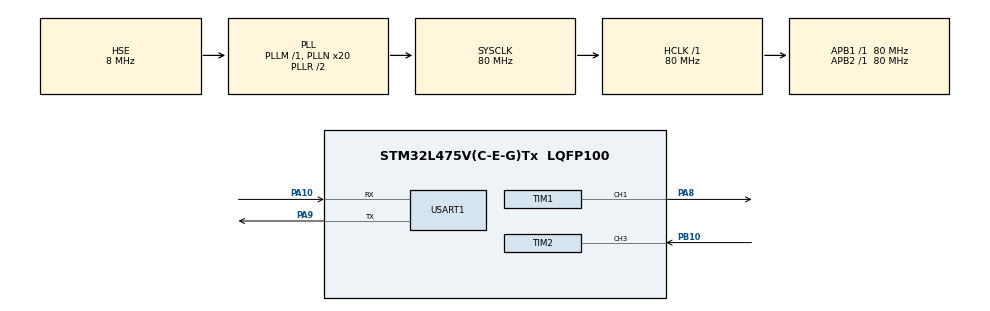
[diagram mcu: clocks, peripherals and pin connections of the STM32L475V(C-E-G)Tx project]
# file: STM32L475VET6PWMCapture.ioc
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Mcu.Family=STM32L4
Mcu.Name=STM32L475V(C-E-G)Tx
Mcu.Package=LQFP100
NVIC.PriorityGroup=NVIC_PRIORITYGROUP_2
NVIC.TIM2_IRQn=true\:0\:0\:false\:false\:true\:true\:true\:true
PA10.Mode=Asynchronous
PA10.Signal=USART1_RX
PA13\ (JTMS-SWDIO).Mode=Serial_Wire
PA13\ (JTMS-SWDIO).Signal=SYS_JTMS-SWDIO
PA14\ (JTCK-SWCLK).Mode=Serial_Wire
PA14\ (JTCK-SWCLK).Signal=SYS_JTCK-SWCLK
PA8.GPIO_PuPd=GPIO_PULLDOWN
PA8.GPIO_Speed=GPIO_SPEED_FREQ_VERY_HIGH
PA8.Signal=S_TIM1_CH1
PA9.Mode=Asynchronous
PA9.Signal=USART1_TX
PB10.GPIO_ModeDefaultPP=GPIO_MODE_AF_PP
PB10.GPIO_PuPd=GPIO_PULLDOWN
PB10.GPIO_Speed=GPIO_SPEED_FREQ_LOW
PB10.Signal=S_TIM2_CH3
PC14-OSC32_IN\ (PC14).Mode=LSE-External-Oscillator
PC14-OSC32_IN\ (PC14).Signal=RCC_OSC32_IN
PC15-OSC32_OUT\ (PC15).Mode=LSE-External-Oscillator
PC15-OSC32_OUT\ (PC15).Signal=RCC_OSC32_OUT
PH0-OSC_IN\ (PH0).Mode=HSE-External-Oscillator
PH0-OSC_IN\ (PH0).Signal=RCC_OSC_IN
PH1-OSC_OUT\ (PH1).Mode=HSE-External-Oscillator
PH1-OSC_OUT\ (PH1).Signal=RCC_OSC_OUT
ProjectManager.HeapSize=0x200
ProjectManager.StackSize=0x400
ProjectManager.TargetToolchain=MDK-ARM V5.32
RCC.ADCFreq_Value=32000000
RCC.AHBFreq_Value=80000000
RCC.APB1Freq_Value=80000000
RCC.APB1TimFreq_Value=80000000
RCC.APB2Freq_Value=80000000
RCC.APB2TimFreq_Value=80000000
RCC.CortexFreq_Value=80000000
RCC.HCLKFreq_Value=80000000
RCC.HSE_VALUE=8000000
RCC.HSI_VALUE=16000000
RCC.MSI_VALUE=4000000
RCC.PLLN=20
RCC.PLLSourceVirtual=RCC_PLLSOURCE_HSE
RCC.SYSCLKFreq_VALUE=80000000
RCC.SYSCLKSource=RCC_SYSCLKSOURCE_PLLCLK
RCC.USBFreq_Value=32000000
RCC.VCOOutputFreq_Value=160000000
SH.S_TIM1_CH1.0=TIM1_CH1,PWM Generation1 CH1
SH.S_TIM2_CH3.0=TIM2_CH3,Input_Capture3_from_TI3
TIM1.Channel-PWM\ Generation1\ CH1=TIM_CHANNEL_1
TIM1.Period=100-1
TIM1.Prescaler=80-1
TIM2.Channel-Input_Capture3_from_TI3=TIM_CHANNEL_3
TIM2.ICFilter_CH3=8
TIM2.ICPolarity_CH3=TIM_INPUTCHANNELPOLARITY_BOTHEDGE
TIM2.Prescaler=80-1
USART1.VirtualMode-Asynchronous=VM_ASYNC
VP_TIM1_VS_ClockSourceINT.Mode=Internal
VP_TIM2_VS_ClockSourceINT.Mode=Internal
board=custom

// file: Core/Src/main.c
/* USER CODE BEGIN Header */
/**
  ******************************************************************************
  * @file           : main.c
  * @brief          : Main program body
  ******************************************************************************
  * @attention
  *
  * Copyright (c) 2023 STMicroelectronics.
  * All rights reserved.
  *
  * This software is licensed under terms that can be found in the LICENSE file
  * in the root directory of this software component.
  * If no LICENSE file comes with this software, it is provided AS-IS.
  *
  ******************************************************************************
  */
/* USER CODE END Header */
#include "main.h"
#include "tim.h"
#include "usart.h"
#include "gpio.h"

/* USER CODE BEGIN Includes */
#include <stdio.h>
#include "delay.h"

/* USER CODE END Includes */

void SystemClock_Config(void);

/* USER CODE BEGIN 0 */

uint32_t IC_Val1 = 0;
uint32_t IC_Val2 = 0;
uint32_t Dif = 0;
uint32_t Width = 0;

uint16_t count = 20;

int IsFirstCap = 0;

int fputc(int ch, FILE *f)
{
	uint8_t temp[1] = {ch};
	HAL_UART_Transmit(&huart1, temp, 1, 1);

}

/* USER CODE END 0 */

int main(void)
{

  /* MCU Configuration--------------------------------------------------------*/

  /* Reset of all peripherals, Initializes the Flash interface and the Systick. */
  HAL_Init();

  /* Configure the system clock */
  SystemClock_Config();

  /* Initialize all configured peripherals */
  MX_GPIO_Init();
  MX_USART1_UART_Init();
  MX_TIM1_Init();
  MX_TIM2_Init();
  /* USER CODE BEGIN 2 */
  delay_init(80);

  TIM1 -> CCR1 = 80;//寄存器
//  __HAL_TIM_SetCompare(&htim1,TIM_CHANNEL_1,50);//宏定义

  HAL_UART_Transmit(&huart1,"system working !!!\r\n", sizeof("system working !!!\r\n"), 10);

  HAL_TIM_PWM_Start(&htim1, TIM_CHANNEL_1);

//  HAL_TIM_IC_Start_IT(&htim2, TIM_CHANNEL_3);

  /* USER CODE END 2 */

  /* Infinite loop */
  /* USER CODE BEGIN WHILE */
  while (1)
  {

	  if(count == 100) count = 20;
	  TIM1->CCR1 = count;
	  count += 20;
	  delay_ms(100);
	  printf("start it\r\n");
	  __HAL_TIM_SET_CAPTUREPOLARITY(&htim2, TIM_CHANNEL_3, TIM_ICPOLARITY_RISING);
	  HAL_TIM_IC_Start_IT(&htim2, TIM_CHANNEL_3);
	  delay_ms(1);//串口阻塞收发，必须加上这个，否则无法工作
	  printf("\r\n");
	  delay_ms(2000);

//	  HAL_TIM_IC_Stop_IT(&htim2, TIM_CHANNEL_3);
	  delay_ms(10);

//	  HAL_TIM_IC_Start_IT(&htim2, TIM_CHANNEL_3);

//	  printf("testing\r\n");
//	  for(count = 20; count <= 100; count += 20)
//	  {
//		__HAL_TIM_SetCounter(&htim1, 0);
//		TIM1->CCR1 = count;
//
//
//
//		  printf("%d \r\n",count);
//
//		  HAL_TIM_IC_Start_IT(&htim2, TIM_CHANNEL_3);
//
//		  HAL_TIM_PWM_Start(&htim1, TIM_CHANNEL_1);
//		  delay_ms(200);
//
//	  }
//
//	  if(count == 100) count = 20;

    /* USER CODE END WHILE */

  }
}

void SystemClock_Config(void)
{
  RCC_OscInitTypeDef RCC_OscInitStruct = {0};
  RCC_ClkInitTypeDef RCC_ClkInitStruct = {0};

  /** Configure the main internal regulator output voltage
  */
  if (HAL_PWREx_ControlVoltageScaling(PWR_REGULATOR_VOLTAGE_SCALE1) != HAL_OK)
  {
    Error_Handler();
  }

  /** Initializes the RCC Oscillators according to the specified parameters
  * in the RCC_OscInitTypeDef structure.
  */
  RCC_OscInitStruct.OscillatorType = RCC_OSCILLATORTYPE_HSE;
  RCC_OscInitStruct.HSEState = RCC_HSE_ON;
  RCC_OscInitStruct.PLL.PLLState = RCC_PLL_ON;
  RCC_OscInitStruct.PLL.PLLSource = RCC_PLLSOURCE_HSE;
  RCC_OscInitStruct.PLL.PLLM = 1;
  RCC_OscInitStruct.PLL.PLLN = 20;
  RCC_OscInitStruct.PLL.PLLP = RCC_PLLP_DIV7;
  RCC_OscInitStruct.PLL.PLLQ = RCC_PLLQ_DIV2;
  RCC_OscInitStruct.PLL.PLLR = RCC_PLLR_DIV2;
  if (HAL_RCC_OscConfig(&RCC_OscInitStruct) != HAL_OK)
  {
    Error_Handler();
  }

  /** Initializes the CPU, AHB and APB buses clocks
  */
  RCC_ClkInitStruct.ClockType = RCC_CLOCKTYPE_HCLK|RCC_CLOCKTYPE_SYSCLK
                              |RCC_CLOCKTYPE_PCLK1|RCC_CLOCKTYPE_PCLK2;
  RCC_ClkInitStruct.SYSCLKSource = RCC_SYSCLKSOURCE_PLLCLK;
  RCC_ClkInitStruct.AHBCLKDivider = RCC_SYSCLK_DIV1;
  RCC_ClkInitStruct.APB1CLKDivider = RCC_HCLK_DIV1;
  RCC_ClkInitStruct.APB2CLKDivider = RCC_HCLK_DIV1;

  if (HAL_RCC_ClockConfig(&RCC_ClkInitStruct, FLASH_LATENCY_4) != HAL_OK)
  {
    Error_Handler();
  }
}

/* USER CODE BEGIN 4 */

void HAL_TIM_IC_CaptureCallback(TIM_HandleTypeDef *htim)
{

	if(htim->Channel == HAL_TIM_ACTIVE_CHANNEL_3)//
	{
		if(IsFirstCap == 0)
		{

			IC_Val1 = HAL_TIM_ReadCapturedValue(htim, TIM_CHANNEL_3);
			__HAL_TIM_SET_CAPTUREPOLARITY(htim, TIM_CHANNEL_3, TIM_ICPOLARITY_FALLING);
			IsFirstCap = 1;

		}
		else
		{

			IC_Val2 = HAL_TIM_ReadCapturedValue(htim, TIM_CHANNEL_3);

			HAL_TIM_IC_Stop_IT(&htim2, TIM_CHANNEL_3);

			if(IC_Val2 > IC_Val1)//判断此次是否溢出
			{
				Dif = IC_Val2 - IC_Val1;
			}
			else if(IC_Val1 > IC_Val2)
			{
				Dif = 0XFFFFFFFF - IC_Val1 + IC_Val2;
			}

			Width = Dif; //unit: us;

			printf("The plus Width is %d us\r\n", Width);

			delay_ms(10);

			IC_Val1 = 0;
			IC_Val2 = 0;

			printf("stop it\r\n");

			IsFirstCap = 0;
		}
	}
}

/* USER CODE END 4 */

void Error_Handler(void)
{
  __disable_irq();
  while (1)
  {
  }
}
